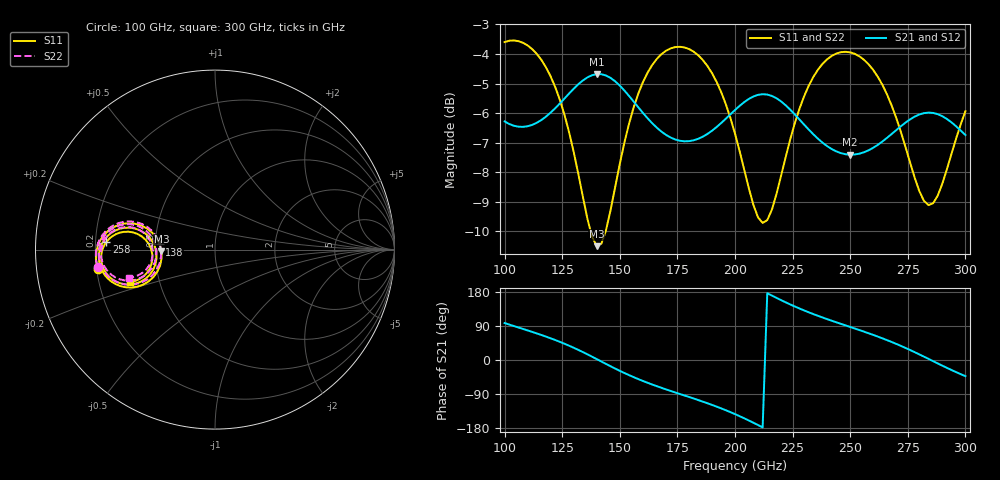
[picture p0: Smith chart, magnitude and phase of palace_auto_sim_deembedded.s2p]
! Created with skrf 1.11.0 (http://scikit-rf.org).
# GHz S DB R 50.0
!freq dBS11 angS11 dBS21 angS21 dBS12 angS12 dBS22 angS22
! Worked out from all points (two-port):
!   101 points, 100 GHz to 300 GHz, reference 50 ohm
!   highest |S21| = -4.68 dB at 140 GHz (marker M1); lowest = -7.4 dB at 250 GHz (marker M2)
!   |S21| within 3 dB of the highest: start of sweep to end of sweep
!   lowest |S11| = -10.5 dB at 140 GHz (marker M3), VSWR 1.85, Z = 27 - j0.548 ohm
!   |S11| at or under -10 dB: 137.4 GHz to 143.8 GHz (6.462 GHz wide, 4.6 % of centre)
!   |S22| runs from -10.4 to -3.5 dB; largest |S21 - S12| = 7.9e-14
!   S11 on the Smith chart (normalised r, x): 100 GHz: 0.21, -0.08; 138 GHz: 0.53, +0.03; 258 GHz: 0.25, +0.03; 300 GHz: 0.34, -0.16
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100  -3.59 -170.7  -6.28 97.5  -6.28 97.5  -3.59 -171.8
110  -3.71 177.9  -6.44 78.0  -6.44 78.0  -3.71 176.8
120  -4.76 167.5  -5.98 57.2  -5.98 57.2  -4.75 166.3
128  -6.65 162.0  -5.33 37.7  -5.33 37.7  -6.63 160.8
134  -8.84 165.0  -4.89 20.8  -4.89 20.8  -8.80 163.7
138  -10.19 174.6  -4.71 8.6  -4.71 8.6  -10.14 173.2
140  -10.50 -178.2  -4.68 2.3  -4.68 2.3  -10.44 -179.7
146  -9.27 -159.0  -4.81 -16.6  -4.81 -16.6  -9.23 -160.8
154  -6.36 -154.5  -5.42 -39.9  -5.42 -39.9  -6.34 -156.4
168  -4.01 -167.0  -6.62 -73.2  -6.62 -73.2  -4.01 -169.0
184  -4.04 176.5  -6.87 -105.6  -6.87 -105.6  -4.04 174.4
200  -6.69 165.2  -5.89 -142.8  -5.89 -142.8  -6.70 162.9
208  -9.10 172.7  -5.43 -165.6  -5.43 -165.6  -9.12 170.4
214  -9.62 -170.7  -5.37 176.1  -5.37 176.1  -9.63 -173.1
224  -6.88 -156.6  -5.88 146.6  -5.88 146.6  -6.89 -159.1
234  -4.77 -161.8  -6.71 121.2  -6.71 121.2  -4.78 -164.5
250  -3.94 -176.8  -7.40 87.1  -7.40 87.1  -3.96 -179.7
258  -4.35 175.9  -7.25 70.5  -7.25 70.5  -4.36 172.9
268  -5.74 168.9  -6.70 47.5  -6.70 47.5  -5.77 165.8
284  -9.11 -176.1  -5.98 2.9  -5.98 2.9  -9.20 -179.2
290  -8.38 -163.5  -6.10 -15.0  -6.10 -15.0  -8.46 -166.3
300  -5.94 -159.1  -6.74 -42.7  -6.74 -42.7  -5.97 -162.0
